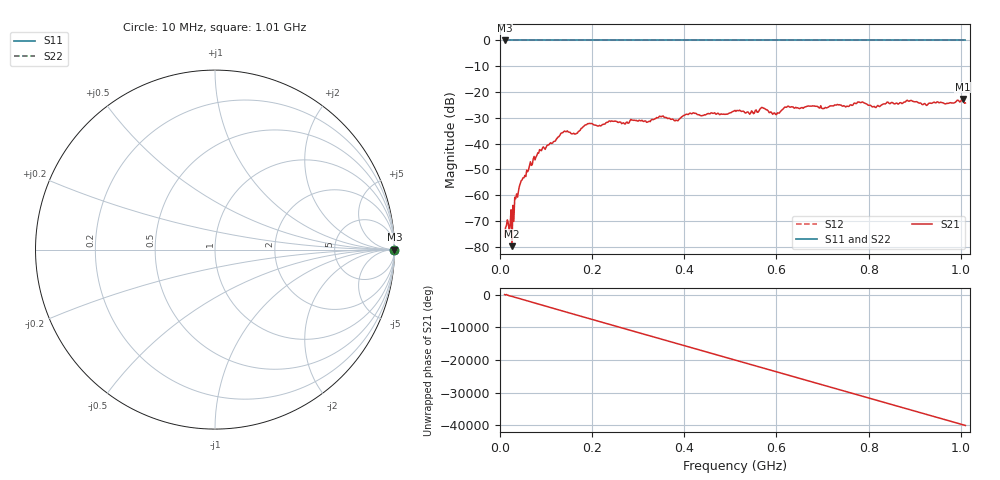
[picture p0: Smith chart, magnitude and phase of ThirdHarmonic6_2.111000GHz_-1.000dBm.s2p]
! 8/17/2025 1:14:56 AM
! C:\ANRITSUVNA\TEMP\TEMP.S2P
! CHANNEL.1
! TR.MEASUREMENT
! RAW.DATA
! RF.CORRECTION.OFF
! AVERAGING.OFF
! IF.BANDWIDTH: 5KHZ
! SWEEPTYPE:  FREQ.SWEEP(Linear)
! Reference Plane Port Info
! PORT:  PORT1  PORT2
! DISTANCE:  0  m  0  m
! TIME:  0  s  0  s
! PHASE.OFFSET:  0  deg.  0  deg.
! LOSS:  0  dB  0  dB
! REF.LOSS:  0  dB  0  dB
! REF.FREQ:  0  Hz  0  Hz
! Power Info
! POWER:  -20  dBm  -20  dBm
! EFF.POWER:  -20  dBm  -20  dBm
! SOURCE.ATTEN:  0  dB  0  dB
! TEST.ATTEN:  0  dB  0  dB
# GHZ S RI R 50.0
! FREQ.GHZ  S11RE  S11IM  S21RE  S21IM  S12RE  S12IM  S22RE  S22IM
!; PortSelection: Port_12
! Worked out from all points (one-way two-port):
!   501 points, 10 MHz to 1.01 GHz, reference 50 ohm
!   highest |S21| = -22.74 dB at 1.004 GHz (marker M1); lowest = -79.8 dB at 26 MHz (marker M2)
!   lowest |S11| = 0.0 dB at 10 MHz (marker M3)
!   |S11| at or under -10 dB: nowhere
!   |S22| runs from 0.0 to 0.0 dB; largest |S21 - S12| = 1.1
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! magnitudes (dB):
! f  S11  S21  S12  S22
! 10 MHz  0.0  -76.1  0.0  0.0
! 20 MHz  0.0  -73.9  0.0  0.0
! 22 MHz  0.0  -71.4  0.0  0.0
! 26 MHz  0.0  -79.8  0.0  0.0
! 30 MHz  0.0  -70.2  0.0  0.0
! 32 MHz  0.0  -60.9  0.0  0.0
! 46 MHz  0.0  -54.4  0.0  0.0
! 84 MHz  0.0  -43.7  0.0  0.0
! 136 MHz  0.0  -35.8  0.0  0.0
! 164 MHz  0.0  -36.3  0.0  0.0
! 178 MHz  0.0  -34.0  0.0  0.0
! 344 MHz  0.0  -29.9  0.0  0.0
! 382 MHz  0.0  -30.9  0.0  0.0
! 416 MHz  0.0  -28.5  0.0  0.0
! 510 MHz  0.0  -27.2  0.0  0.0
! 570 MHz  0.0  -26.1  0.0  0.0
! 596 MHz  0.0  -28.2  0.0  0.0
! 622 MHz  0.0  -25.9  0.0  0.0
! 678 MHz  0.0  -25.4  0.0  0.0
! 844 MHz  0.0  -24.3  0.0  0.0
! 1.004 GHz  0.0  -22.7  0.0  0.0
! 1.01 GHz  0.0  -24.3  0.0  0.0
